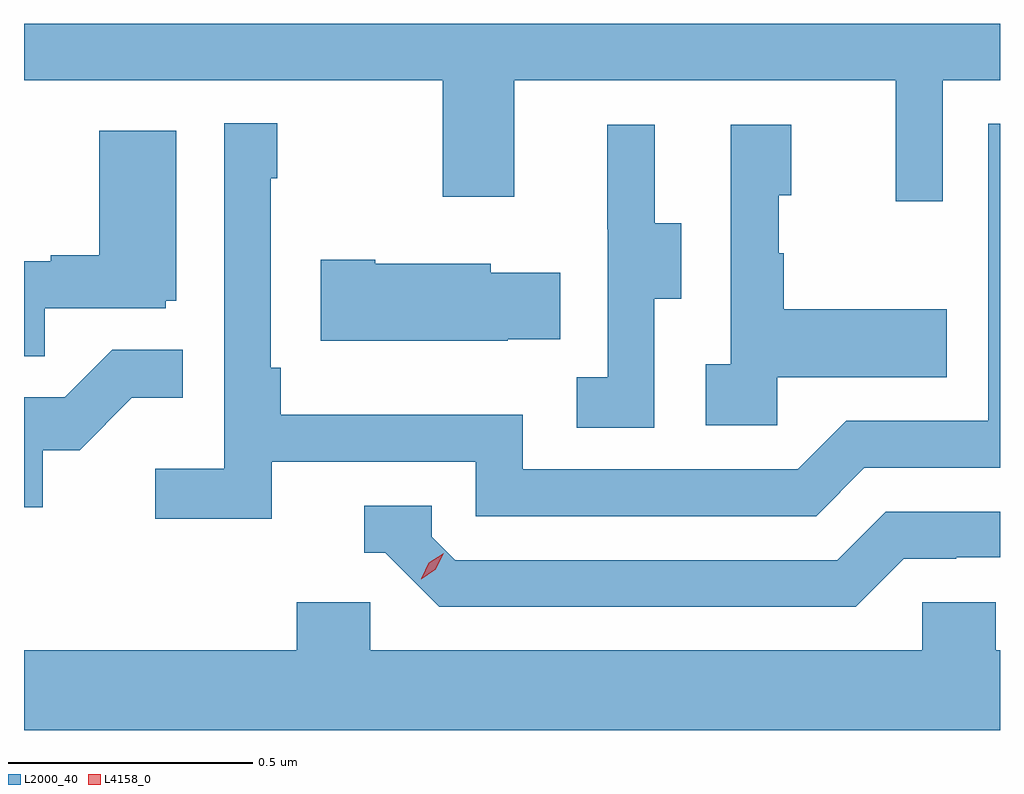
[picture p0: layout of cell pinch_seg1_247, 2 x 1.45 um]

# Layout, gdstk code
import gdstk
lib = gdstk.Library(unit=1e-6, precision=1e-09)
def P(c, l, *ps):  # polygons
    for p in ps: c.add(gdstk.Polygon(p, *l))
L2000_40 = (2000, 40)
L4158_0 = (4158, 0)

pinch_seg1_247 = lib.new_cell('pinch_seg1_247')
P(pinch_seg1_247, L2000_40, [(904.557,571.712),(904.674,571.712),(904.674,571.828),(902.674,571.828),(902.674,571.712),(903.532,571.712),(903.532,571.473),(903.679,571.473),(903.679,571.712),(904.46,571.712),(904.46,571.464),(904.557,571.464)],
  [(903.182,570.93),(903.6,570.93),(903.6,570.819),(904.297,570.819),(904.396,570.918),(904.674,570.918),(904.674,571.623),(904.65,571.623),(904.65,571.014),(904.359,571.014),(904.26,570.915),(903.696,570.915),(903.696,571.027),(903.2,571.027),(903.2,571.123),(903.18,571.123),(903.18,571.511),(903.193,571.511),(903.193,571.624),(903.084,571.624),(903.084,570.916),(902.943,570.916),(902.943,570.814),(903.182,570.814)],
  [(904.218,571.103),(904.565,571.103),(904.565,571.243),(904.231,571.243),(904.231,571.358),(904.221,571.358),(904.221,571.476),(904.246,571.476),(904.246,571.621),(904.122,571.621),(904.122,571.13),(904.071,571.13),(904.071,571.005),(904.218,571.005)],
  [(903.966,571.264),(904.021,571.264),(904.021,571.419),(903.967,571.419),(903.967,571.621),(903.869,571.621),(903.869,571.407),(903.87,571.407),(903.87,571.103),(903.807,571.103),(903.807,571),(903.966,571)],
  [(902.717,571.245),(902.964,571.245),(902.964,571.26),(902.986,571.26),(902.986,571.609),(902.828,571.609),(902.828,571.354),(902.729,571.354),(902.729,571.341),(902.674,571.341),(902.674,571.147),(902.717,571.147)],
  [(903.665,571.181),(903.773,571.181),(903.773,571.318),(903.63,571.318),(903.63,571.336),(903.394,571.336),(903.394,571.344),(903.282,571.344),(903.282,571.178),(903.665,571.178)],
  [(902.712,570.954),(902.788,570.954),(902.895,571.061),(902.999,571.061),(902.999,571.16),(902.855,571.16),(902.757,571.062),(902.674,571.062),(902.674,570.837),(902.712,570.837)],
  [(904.477,570.732),(904.584,570.732),(904.584,570.735),(904.674,570.735),(904.674,570.828),(904.44,570.828),(904.341,570.729),(903.558,570.729),(903.51,570.777),(903.51,570.84),(903.371,570.84),(903.371,570.744),(903.414,570.744),(903.525,570.633),(904.378,570.633)],
  [(904.674,570.544),(904.665,570.544),(904.665,570.642),(904.515,570.642),(904.515,570.544),(903.384,570.544),(903.384,570.642),(903.233,570.642),(903.233,570.544),(902.674,570.544),(902.674,570.38),(904.674,570.38)])
P(pinch_seg1_247, L4158_0, [(903.488,570.69),(903.488,570.691),(903.503,570.723),(903.534,570.743),(903.534,570.743),(903.534,570.743),(903.518,570.71),(903.488,570.69)])

lib.write_gds('pinch_seg1_247.gds')
